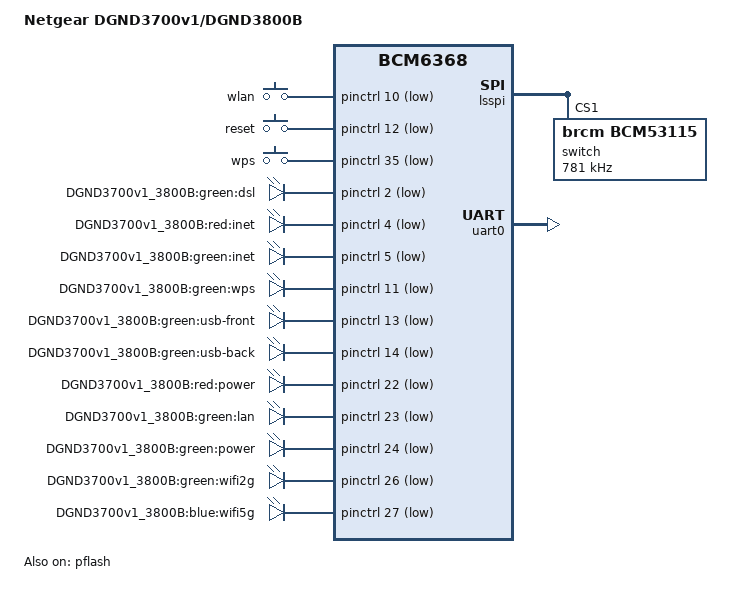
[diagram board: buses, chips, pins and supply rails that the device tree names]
/dts-v1/;

#include "bcm6368.dtsi"

#include <dt-bindings/input/input.h>

/ {
	model = "Netgear DGND3700v1/DGND3800B";
	compatible = "netgear,dgnd3700v1", "brcm,bcm6368";

	chosen {
		bootargs = "root=/dev/mtdblock2 rootfstype=squashfs,jffs2 noinitrd console=ttyS0,115200";
		stdout-path = "serial0:115200n8";
	};

	gpio-keys-polled {
		compatible = "gpio-keys-polled";
		#address-cells = <1>;
		#size-cells = <0>;
		poll-interval = <20>;
		debounce-interval = <60>;

		wlan {
			label = "wlan";
			gpios = <&pinctrl 10 1>;
			linux,code = <KEY_WLAN>;
		};
		reset {
			label = "reset";
			gpios = <&pinctrl 12 1>;
			linux,code = <KEY_RESTART>;
		};
		wps {
			label = "wps";
			gpios = <&pinctrl 35 1>;
			linux,code = <KEY_WPS_BUTTON>;
		};
	};

	gpio-leds {
		compatible = "gpio-leds";

		dsl_green {
			label = "DGND3700v1_3800B:green:dsl";
			gpios = <&pinctrl 2 1>;
		};
		inet_red {
			label = "DGND3700v1_3800B:red:inet";
			gpios = <&pinctrl 4 1>;
		};
		inet_green {
			label = "DGND3700v1_3800B:green:inet";
			gpios = <&pinctrl 5 1>;
		};
		wps_green {
			label = "DGND3700v1_3800B:green:wps";
			gpios = <&pinctrl 11 1>;
		};
		usbfront_green {
			label = "DGND3700v1_3800B:green:usb-front";
			gpios = <&pinctrl 13 1>;
		};
		usbback_green {
			label = "DGND3700v1_3800B:green:usb-back";
			gpios = <&pinctrl 14 1>;
		};
		power_red {
			label = "DGND3700v1_3800B:red:power";
			gpios = <&pinctrl 22 1>;
		};
		lan_green {
			label = "DGND3700v1_3800B:green:lan";
			gpios = <&pinctrl 23 1>;
		};
		power_green {
			label = "DGND3700v1_3800B:green:power";
			gpios = <&pinctrl 24 1>;
			default-state = "on";
		};
		wifi2g_green {
			label = "DGND3700v1_3800B:green:wifi2g";
			gpios = <&pinctrl 26 1>;
		};
		wifi5g_blue {
			label = "DGND3700v1_3800B:blue:wifi5g";
			gpios = <&pinctrl 27 1>;
		};
	};
};

&pflash {
	status = "ok";

	linux,part-probe = "bcm63xxpart";

	cfe@0 {
		label = "CFE";
		reg = <0x000000 0x020000>;
		read-only;
	};

	linux@20000 {
		label = "linux";
		reg = <0x020000 0x1e20000>;
	};

	board_data@1e40000 {
		label = "board_data";
		reg = <0x1e40000 0x1a0000>;
		read-only;
	};

	nvram@1fe0000 {
		label = "nvram";
		reg = <0x1fe0000 0x20000>;
	};
}; 

&pinctrl {
	pinctrl-names = "default";
	pinctrl-0 = <&pinctrl_pci>;
};

&lsspi {
	switch@1 {
		compatible = "brcm,bcm53115";
		reg = <1>;
		spi-max-frequency = <781000>;

		lede,alias = "eth0";

		ports {
			#address-cells = <1>;
			#size-cells = <0>;

			wan@0 {
				reg = <0>;
				label = "wan";
			};

			lan@1 {
				reg = <1>;
				label = "lan1";
			};

			lan@2 {
				reg = <2>;
				label = "lan2";
			};

			lan@3 {
				reg = <3>;
				label = "lan3";
			};

			lan@4 {
				reg = <4>;
				label = "lan4";
			};

			cpu@8 {
				reg = <8>;
				label = "cpu";

				fixed-link {
					speed = <1000>;
					full-duplex;
				};
			};
		};
	};
};

&uart0 {
	status = "ok";
};
